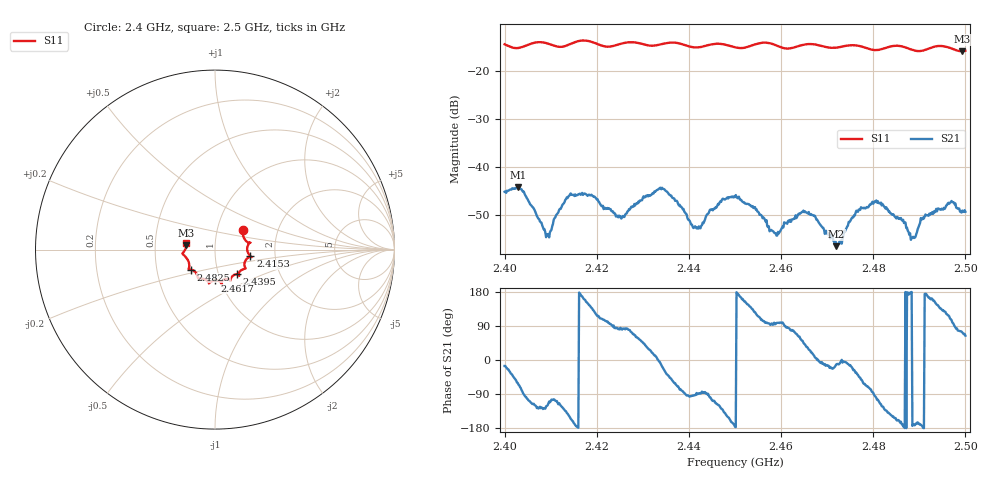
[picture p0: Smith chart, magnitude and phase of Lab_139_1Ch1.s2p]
# Hz S RI R 50
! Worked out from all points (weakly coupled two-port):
!   601 points, 2.4 GHz to 2.5 GHz, reference 50 ohm
!   highest |S21| = -44.31 dB at 2.403 GHz (marker M1); lowest = -56.6 dB at 2.472 GHz (marker M2)
!   lowest |S11| = -15.9 dB at 2.4993 GHz (marker M3), VSWR 1.38, Z = 36.2 + j1.75 ohm
!   |S11| at or under -10 dB: start of sweep to end of sweep
!   S12 and S22 are empty: the file has one direction only
!   S11 on the Smith chart (normalised r, x): 2.4 GHz: 1.33, +0.30; 2.4153 GHz: 1.49, -0.12; 2.4395 GHz: 1.22, -0.35; 2.4617 GHz: 0.94, -0.33; 2.4825 GHz: 0.75, -0.17; 2.5 GHz: 0.72, +0.05
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2.4e9  0.1559 0.1091  0.00527 -0.00148  0 0  0 0
2.403e9  0.1635 0.0605  0.0026 -0.0055  0 0  0 0
2.409333e9  0.191 0.0357  -0.000943 -0.00167  0 0  0 0
2.415333e9  0.1975 -0.0372  -0.00508 -0.000731  0 0  0 0
2.416667e9  0.2041 -0.0417  -0.00508 0.000981  0 0  0 0
2.4255e9  0.1673 -0.0992  0.000507 0.00293  0 0  0 0
2.433333e9  0.1324 -0.133  0.00579 -2.61e-05  0 0  0 0
2.4395e9  0.1226 -0.1379  -0.000201 -0.00317  0 0  0 0
2.442167e9  0.097 -0.1482  9.65e-05 -0.00237  0 0  0 0
2.45e9  0.0667 -0.1643  -0.0048 -0.000314  0 0  0 0
2.458667e9  0.0342 -0.1848  -0.000142 0.00201  0 0  0 0
2.461667e9  0.000818 -0.172  0.000292 0.00273  0 0  0 0
2.466667e9  -0.0336 -0.1883  0.00295 0.00105  0 0  0 0
2.472e9  -0.0671 -0.1623  0.00145 -0.000286  0 0  0 0
2.476833e9  -0.095 -0.1572  0.00261 -0.00243  0 0  0 0
2.4825e9  -0.1327 -0.1117  -0.00249 -0.00284  0 0  0 0
2.483333e9  -0.14 -0.1108  -0.00257 -0.00222  0 0  0 0
2.488667e9  -0.1437 -0.0819  -0.00182 -0.000336  0 0  0 0
2.490833e9  -0.156 -0.0504  -0.00294 -4.41e-05  0 0  0 0
2.4965e9  -0.1751 -0.0138  -0.00174 0.00371  0 0  0 0
2.499333e9  -0.1594 0.0236  0.00103 0.00332  0 0  0 0
2.5e9  -0.1595 0.0352  0.00148 0.00305  0 0  0 0
